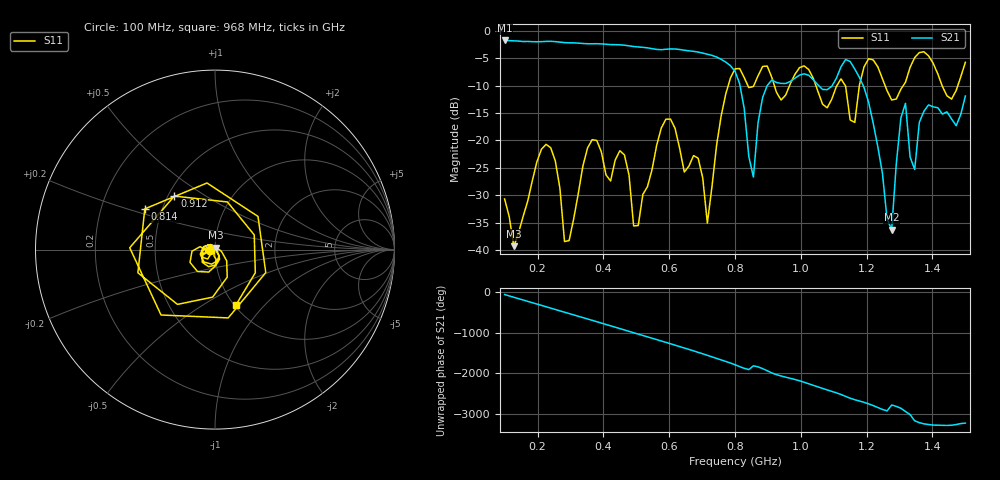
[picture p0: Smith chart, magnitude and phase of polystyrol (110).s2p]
! NanoVNA-App
! Date: 2025-09-26 09:42:44
! Start: 100MHz Stop: 1,5GHz Points: 101
! S-Parameter data: F S11 S21 S12 S22
# Hz S RI R 50
!  Frequency  S11_Real  S11_Imag  S21_Real  S21_Imag  S12_Real  S12_Imag  S22_Real  S22_Imag
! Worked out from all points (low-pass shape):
!   101 points, 100 MHz to 1.5 GHz, reference 50 ohm
!   highest |S21| = -1.79 dB at 100 MHz (marker M1); lowest = -36.2 dB at 1.276 GHz (marker M2)
!   |S21| within 3 dB of the highest: start of sweep to 743.3 MHz
!   lowest |S11| = -39.3 dB at 128 MHz (marker M3), VSWR 1.02, Z = 50.3 + j1.06 ohm
!   |S11| at or under -10 dB: start of sweep to 779.4 MHz; 1.046 GHz to 1.11 GHz (64.02 MHz wide, 5.94 % of centre); 1.256 GHz to 1.311 GHz (55.42 MHz wide, 4.32 % of centre) (the widest 3 of 7)
!   S12 and S22 are empty: the file has one direction only
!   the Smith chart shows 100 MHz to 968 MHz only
!   S11 on the Smith chart (normalised r, x): 100 MHz: 0.94, -0.01; 814 MHz: 0.40, +0.23; 912 MHz: 0.54, +0.37; 968 MHz: 1.02, -0.70
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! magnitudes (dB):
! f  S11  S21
! 100 MHz  -30.7  -1.8
! 128 MHz  -39.3  -1.9
! 212 MHz  -21.6  -2.0
! 282 MHz  -38.4  -2.2
! 338 MHz  -24.6  -2.3
! 464 MHz  -22.6  -2.7
! 506 MHz  -35.5  -3.0
! 576 MHz  -17.7  -3.5
! 688 MHz  -23.2  -3.9
! 716 MHz  -35.0  -4.3
! 800 MHz  -7.0  -7.4
! 814 MHz  -6.9  -9.6
! 856 MHz  -10.2  -26.7
! 912 MHz  -8.5  -9.0
! 968 MHz  -9.7  -9.2
! 1.038 GHz  -8.7  -9.0
! 1.178 GHz  -9.9  -8.5
! 1.276 GHz  -12.6  -36.2
! 1.318 GHz  -9.4  -13.2
! 1.346 GHz  -4.9  -25.3
! 1.374 GHz  -3.8  -14.7
! 1.5 GHz  -5.8  -11.9
